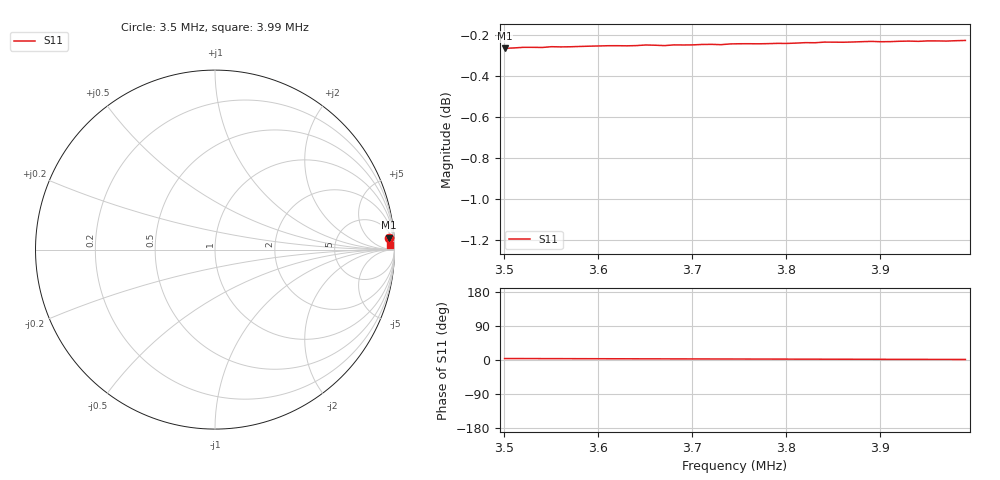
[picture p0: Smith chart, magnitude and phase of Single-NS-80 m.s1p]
# HZ S RI R 50
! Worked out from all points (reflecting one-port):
!   50 points, 3.5 MHz to 3.99 MHz, reference 50 ohm
!   lowest |S11| = -0.3 dB at 3.5 MHz (marker M1), VSWR 65.23, Z = 549 + j1.22e+03 ohm
!   phase of S11 starts at 4 deg and turns -3 deg over the sweep
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3500200  0.9675 0.0661
3520208  0.9682 0.0644
3540216  0.9683 0.0622
3550220  0.9687 0.0613
3570228  0.9688 0.0595
3590236  0.9692 0.0579
3610244  0.9696 0.0559
3630252  0.9696 0.0544
3650260  0.9702 0.0523
3670268  0.97 0.0505
3680272  0.9704 0.0497
3690276  0.9704 0.0489
3720288  0.9709 0.0462
3730292  0.9707 0.0454
3740296  0.9712 0.0444
3750300  0.9713 0.0437
3770308  0.9714 0.0417
3790316  0.9717 0.0402
3810324  0.9719 0.0384
3830332  0.9721 0.0368
3840336  0.9725 0.0359
3870348  0.9727 0.0335
3890356  0.973 0.0318
3900360  0.9729 0.031
3930372  0.9733 0.0285
3940376  0.9732 0.0275
3970388  0.9734 0.0253
3990396  0.9738 0.0236
